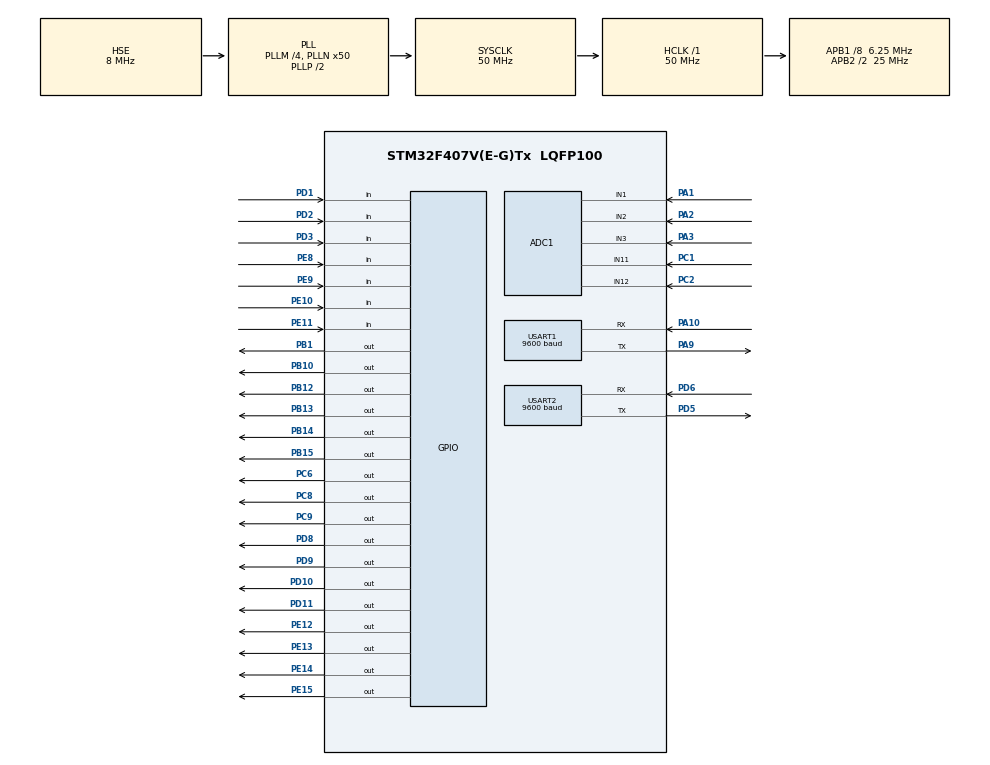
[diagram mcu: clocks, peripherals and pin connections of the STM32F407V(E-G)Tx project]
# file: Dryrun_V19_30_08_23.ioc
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ADC1.Channel-0\#ChannelRegularConversion=ADC_CHANNEL_1
ADC1.Channel-1\#ChannelRegularConversion=ADC_CHANNEL_2
ADC1.Channel-2\#ChannelRegularConversion=ADC_CHANNEL_3
ADC1.Channel-3\#ChannelRegularConversion=ADC_CHANNEL_11
ADC1.Channel-4\#ChannelRegularConversion=ADC_CHANNEL_12
ADC1.ContinuousConvMode=ENABLE
ADC1.DiscontinuousConvMode=DISABLE
ADC1.EOCSelection=ADC_EOC_SINGLE_CONV
ADC1.ExternalTrigConv=ADC_SOFTWARE_START
ADC1.NbrOfConversion=5
ADC1.NbrOfConversionFlag=1
ADC1.Rank-0\#ChannelRegularConversion=1
ADC1.Rank-1\#ChannelRegularConversion=2
ADC1.Rank-2\#ChannelRegularConversion=3
ADC1.Rank-3\#ChannelRegularConversion=4
ADC1.Rank-4\#ChannelRegularConversion=5
ADC1.SamplingTime-0\#ChannelRegularConversion=ADC_SAMPLETIME_3CYCLES
ADC1.SamplingTime-1\#ChannelRegularConversion=ADC_SAMPLETIME_15CYCLES
ADC1.SamplingTime-2\#ChannelRegularConversion=ADC_SAMPLETIME_28CYCLES
ADC1.SamplingTime-3\#ChannelRegularConversion=ADC_SAMPLETIME_56CYCLES
ADC1.SamplingTime-4\#ChannelRegularConversion=ADC_SAMPLETIME_84CYCLES
ADC1.ScanConvMode=ENABLE
ADC1.master=1
Mcu.Family=STM32F4
Mcu.Name=STM32F407V(E-G)Tx
Mcu.Package=LQFP100
NVIC.PriorityGroup=NVIC_PRIORITYGROUP_0
NVIC.TIM6_DAC_IRQn=true\:0\:0\:false\:false\:true\:true\:true\:true
NVIC.TIM7_IRQn=true\:0\:0\:false\:false\:true\:true\:true\:true
PA1.Signal=ADCx_IN1
PA10.Mode=Asynchronous
PA10.Signal=USART1_RX
PA2.Signal=ADCx_IN2
PA3.Signal=ADCx_IN3
PA9.Mode=Asynchronous
PA9.Signal=USART1_TX
PB1.Signal=GPIO_Output
PB10.Signal=GPIO_Output
PB12.Signal=GPIO_Output
PB13.Signal=GPIO_Output
PB14.Signal=GPIO_Output
PB15.Signal=GPIO_Output
PC1.Signal=ADCx_IN11
PC2.Signal=ADCx_IN12
PC6.Signal=GPIO_Output
PC8.Signal=GPIO_Output
PC9.Signal=GPIO_Output
PD1.Signal=GPIO_Input
PD10.Signal=GPIO_Output
PD11.Signal=GPIO_Output
PD2.Signal=GPIO_Input
PD3.Signal=GPIO_Input
PD5.Mode=Asynchronous
PD5.Signal=USART2_TX
PD6.Mode=Asynchronous
PD6.Signal=USART2_RX
PD8.Signal=GPIO_Output
PD9.Signal=GPIO_Output
PE10.Signal=GPIO_Input
PE11.Signal=GPIO_Input
PE12.Signal=GPIO_Output
PE13.Signal=GPIO_Output
PE14.Signal=GPIO_Output
PE15.Signal=GPIO_Output
PE8.Signal=GPIO_Input
PE9.Signal=GPIO_Input
PH0-OSC_IN.Mode=HSE-External-Oscillator
PH0-OSC_IN.Signal=RCC_OSC_IN
PH1-OSC_OUT.Mode=HSE-External-Oscillator
PH1-OSC_OUT.Signal=RCC_OSC_OUT
ProjectManager.HeapSize=0x200
ProjectManager.StackSize=0x400
ProjectManager.TargetToolchain=STM32CubeIDE
RCC.48MHZClocksFreq_Value=14285714.285714285
RCC.AHBFreq_Value=50000000
RCC.APB1CLKDivider=RCC_HCLK_DIV8
RCC.APB1Freq_Value=6250000
RCC.APB1TimFreq_Value=12500000
RCC.APB2CLKDivider=RCC_HCLK_DIV2
RCC.APB2Freq_Value=25000000
RCC.APB2TimFreq_Value=50000000
RCC.CortexFreq_Value=50000000
RCC.HCLKFreq_Value=50000000
RCC.HSE_VALUE=8000000
RCC.HSI_VALUE=16000000
RCC.LSE_VALUE=32768
RCC.PLLM=4
RCC.PLLN=50
RCC.PLLQ=7
RCC.PLLSourceVirtual=RCC_PLLSOURCE_HSE
RCC.SYSCLKFreq_VALUE=50000000
RCC.SYSCLKSource=RCC_SYSCLKSOURCE_PLLCLK
RCC.VCOOutputFreq_Value=100000000
SH.ADCx_IN1.0=ADC1_IN1,IN1
SH.ADCx_IN11.0=ADC1_IN11,IN11
SH.ADCx_IN12.0=ADC1_IN12,IN12
SH.ADCx_IN2.0=ADC1_IN2,IN2
SH.ADCx_IN3.0=ADC1_IN3,IN3
TIM6.Period=60000
TIM6.Prescaler=12499
TIM7.Period=10
TIM7.Prescaler=12499
USART1.BaudRate=9600
USART1.VirtualMode=VM_ASYNC
USART2.BaudRate=9600
USART2.VirtualMode=VM_ASYNC
VP_TIM6_VS_ClockSourceINT.Mode=Enable_Timer
VP_TIM7_VS_ClockSourceINT.Mode=Enable_Timer
board=STM32F407G-DISC1

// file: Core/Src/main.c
/* USER CODE BEGIN Header */
/**
  ******************************************************************************
  * @file           : main.c
  * @brief          : Main program body
  ******************************************************************************
  * @attention
  *
  * Copyright (c) 2023 STMicroelectronics.
  * All rights reserved.
  *
  * This software is licensed under terms that can be found in the LICENSE file
  * in the root directory of this software component.
  * If no LICENSE file comes with this software, it is provided AS-IS.
  *
  ******************************************************************************
  */
/* USER CODE END Header */
#include "main.h"

/* USER CODE BEGIN Includes */

#include<stdio.h>
#include<string.h>
#include "FLASH_SECTOR_F4.h"

/* USER CODE END Includes */

/* USER CODE BEGIN PTD */

typedef unsigned char uc;
typedef uint8_t ui8;
typedef uint16_t ui16;
typedef unsigned int ui;
typedef uint32_t ui32;

/* USER CODE END PTD */

/* USER CODE BEGIN PD */

#define SW_DryrunBypass		GPIO_PIN_9	//PE9
#define SW_DryrunSet		GPIO_PIN_10	//PE10
#define SW_AutoManual		GPIO_PIN_8	//PE8

#define MOTOR_LED		GPIO_PIN_14	//PE14
#define SPP_LED			GPIO_PIN_15	//PE15
#define DRN_LED			GPIO_PIN_1	//PB1

#define SPP_Sense		GPIO_PIN_11	//PE11

#define Relay_Start		GPIO_PIN_12	// PE12
#define Relay_Stop		GPIO_PIN_13	// PE13

#define SEG_A			GPIO_PIN_12	// PB12
#define SEG_B			GPIO_PIN_13	// PB13
#define SEG_C			GPIO_PIN_14	// PB14
#define SEG_D			GPIO_PIN_15	// PB15
#define SEG_E			GPIO_PIN_8	// PD8
#define SEG_F			GPIO_PIN_9	// PD9
#define SEG_G			GPIO_PIN_10	// PD10
#define SEG_DP			GPIO_PIN_11	// PD11

#define DISP_1			GPIO_PIN_9	// PC9 = DIGIT-1
#define DISP_2			GPIO_PIN_8	// PC8 = DIGIT-2
#define DISP_3			GPIO_PIN_6	// PC6 = DIGIT-3

/* USER CODE END PD */

ADC_HandleTypeDef hadc1;

TIM_HandleTypeDef htim6;
TIM_HandleTypeDef htim7;

UART_HandleTypeDef huart1;
UART_HandleTypeDef huart2;

/* USER CODE BEGIN PV */

//Flags

ui8 RYB_Flag = 0;
ui8 PhaseFault_Flag = 0;
ui8 R_Flag = 0;
ui8 Y_Flag = 0;
ui8 B_Flag = 0;
ui8 Motor_Status = 0;
ui8 Dryrun_Flag = 0;

ui16 R_Voltage = 0;
ui16 Y_Voltage = 0;
ui16 B_Voltage = 0;

ui16 count;
volatile ui16 count1;
ui16 adc_val=0;

//EEPROM Memory Addresses

ui32 write_add = 0;
uc write_buffer[2] = {0xFF,0xFF};

ui32 read_add = 0;
uc Read_Buffer[2] = {0};

ui16 E_value = 0;

//UART
ui8 tx_buf1[30] = {0};

//Phase, Current & POT ADC Varaibles

ui chan_value_R = 0;
ui chan_value_Y = 0;
ui chan_value_B = 0;
ui chan_value_I = 0;
ui Start_Delay = 0;

ui16 CT_Val = 0;
ui16 CT_High_Limit=0;
ui16 CT_Low_Limit=0;
ui16 I_Current = 0;

int i, k, m, s=0, t=0;
ui8 Current_Flag = 0, Voltage_Flag = 0;

// GSM
char buf_on[100] = {0};
char buf_off[100] = {0};
char buf_tim[100] = {0};
char cmd[64] = {0};
char msg[128] = {0};
ui16 tim_count = 0;
ui16 tim_sec = 0;

/* USER CODE END PV */

void SystemClock_Config(void);
static void MX_GPIO_Init(void);
static void MX_ADC1_Init(void);
static void MX_TIM7_Init(void);
static void MX_USART1_UART_Init(void);
static void MX_USART2_UART_Init(void);
static void MX_TIM6_Init(void);
/* USER CODE BEGIN PFP */

void Syst_Init(void);
void HW_Test();
void init_disp();

void zero_0();
void one_1();
void two_2();
void three_3();
void four_4();
void five_5();
void six_6();
void seven_7();
void eight_8();
void nine_9();

void disp(unsigned int);

void CheckPhaseVoltage();
void CheckDryrun();
void MotorON();
void MotorOFF();
void DryRunSet();

void led_blink(uint16_t pin, uint16_t delay);
void led_off(uint16_t pin);

void ADC_Select_VADC_R(void);
void ADC_Select_VADC_Y(void);
void ADC_Select_VADC_B(void);
void ADC_Select_IADC_R(void);
void ADC_Select_STS(void);

void HAL_TIM_PeriodElapsedCallback(TIM_HandleTypeDef *htim);

void msDelay(uint16_t timecount);

/* USER CODE END PFP */

int main(void)
{

  /* MCU Configuration--------------------------------------------------------*/

  /* Reset of all peripherals, Initializes the Flash interface and the Systick. */
  HAL_Init();

  /* Configure the system clock */
  SystemClock_Config();

  /* Initialize all configured peripherals */
  MX_GPIO_Init();
  MX_ADC1_Init();
  MX_TIM7_Init();
  MX_USART1_UART_Init();
  MX_USART2_UART_Init();
  MX_TIM6_Init();
  /* USER CODE BEGIN 2 */

  Syst_Init();
  HAL_UART_Transmit(&huart2, (uint8_t *)"AT+CMGDA=\"DEL ALL\"\r\n", 20, 1000);

  write_add = 0x08005000;	//EEPROM Write Address

  read_add = 0x08005000;	//EEPROM Read Address

  __disable_irq();
  Flash_Read_Data(read_add, Read_Buffer, 4);	//Read the value from EEPROM
  __enable_irq();

  E_value = Read_Buffer[1];			//Write MSB of EEPROM value
  E_value = (E_value<<8)| Read_Buffer[0];		//Write LSB of EEPROM value
  HAL_Delay(20);

  CT_High_Limit = E_value + ((E_value/100)*30);	//Set High Limit of Current
  CT_Low_Limit = E_value - ((E_value/100)*30);	//Set Low Limit of Current

  /* USER CODE END 2 */

  /* Infinite loop */
  /* USER CODE BEGIN WHILE */
  while (1)
  {
	  HAL_UART_Transmit(&huart2, (uint8_t *)"AT+CMGR=1\r\n", 11, 100);
	  HAL_UART_Receive(&huart2, (uint8_t *)buf_on, sizeof(buf_on), 100);
	  if(strstr(buf_on, "*ON#"))
	  {
		  HAL_UART_Transmit(&huart2, (uint8_t *)"AT+CMGR=2\r\n", 11, 1000);
		  HAL_UART_Receive(&huart2, (uint8_t *)buf_tim, sizeof(buf_tim), 1000);
		  if(strstr(buf_tim, "*T1#") || strstr(buf_tim, "*T2#") || strstr(buf_tim, "*T3#"))
		  {
			  if(strstr(buf_tim, "*T1#"))
			  {
				  tim_count = 60;
			  }
			  else if(strstr(buf_tim, "*T2#"))
			  {
				  tim_count = 120;
			  }
			  else if(strstr(buf_tim, "*T3#"))
			  {
				  tim_count = 180;
			  }
			  HAL_TIM_Base_Start_IT(&htim6);
			  if(tim_sec <= tim_count)
			  {
				  CheckPhaseVoltage();

				  if(HAL_GPIO_ReadPin(GPIOE, SW_AutoManual) == 1)      // if Manual Mode is ON
				  {
					  printf(tx_buf1,"Auto Mode Manual\r ");
					  HAL_UART_Transmit(&huart1, tx_buf1, 17, 100);

					  if(Motor_Status==1)	// if Motor is ON, turn Motor OFF
					  {
						  MotorOFF();
					  }
				  }
				  if(HAL_GPIO_ReadPin(GPIOE, SPP_Sense) == 0)	// if Phase Fault occurs  (Need to check with hardware)
				  {
					  for(count = 0; count<10; count++)   // Checking 10 times
					  {
						  if(HAL_GPIO_ReadPin(GPIOE, SPP_Sense) == 0)
						  {
							  PhaseFault_Flag = 1;
						  }
						  else
						  {
							  PhaseFault_Flag = 0;
							  break;
						  }
					  }
					  if(PhaseFault_Flag == 1)	//Turn Motor OFF if PhaseFault occurs
					  {
						  if(Motor_Status==1)	// if Motor is ON, turn Motor OFF
						  {
							  MotorOFF();
							  HAL_GPIO_WritePin(GPIOE, SPP_LED, GPIO_PIN_RESET);
							  sprintf(tx_buf1,"Phase Fault\r");
							  HAL_UART_Transmit(&huart1, tx_buf1, 11, 100);
						  }
					  }
					  else
					  {
						  HAL_GPIO_WritePin(GPIOE, SPP_LED, GPIO_PIN_SET);
					  }

				  }

				  if(R_Flag==1 || Y_Flag==1 || B_Flag==1)
				  {
					  for(count = 0; count<10; count++)   // Checking 10 times
					  {
						  if(R_Flag==1 || Y_Flag==1 || B_Flag==1)
						  {
							  RYB_Flag = 1;
						  }

					  }
					  if(RYB_Flag == 1)	//Turn Motor OFF if PhaseFault occurs
					  {
						  if(Motor_Status==1)	// if Motor is ON, turn Motor OFF
						  {
							  MotorOFF();
							  sprintf(tx_buf1,"K Fault\r");
							  HAL_UART_Transmit(&huart1, tx_buf1, 9, 100);
						  }
					  }
				  }
				  else
				  {
					  RYB_Flag = 0;

				  }

				  if(Motor_Status == 0 && HAL_GPIO_ReadPin(GPIOE, SW_AutoManual) == 0 && PhaseFault_Flag == 0 && RYB_Flag == 0 && Dryrun_Flag == 0)	// Checking for Motor ON & all fault status, if Motor OFF & all fault Clear then Motor ON
				  {
					  MotorON();
					  HAL_UART_Transmit(&huart2, (uint8_t *)"AT+CMGR=3\r\n", 11, 1000);
					  HAL_UART_Receive(&huart2, (uint8_t *)buf_off, sizeof(buf_off), 1000);
					  if(strstr(buf_off, "*OFF#"))
					  {
						  MotorOFF();
						  HAL_UART_Transmit(&huart2, (uint8_t *)"AT+CMGDA=\"DEL ALL\"\r\n", 20, 1000);
					  }
				  }
				  if(Motor_Status == 1 && HAL_GPIO_ReadPin(GPIOE, SW_AutoManual) == 0 && PhaseFault_Flag == 0 && RYB_Flag == 0 )	// Checking for Motor ON & all fault status, if Motor ON & all fault Clear then Check for Bypass
				  {
					  if(HAL_GPIO_ReadPin(GPIOE, SW_DryrunBypass) == 0)   		// If Bypass is OFF, check for Dryrun
					  {
						  if(E_value<0xFFFF)		// Check for EEPROM value, if Current reference value exist then check for Dryrun
						  {
							  HAL_UART_Transmit(&huart2, (uint8_t *)"AT+CMGR=3\r\n", 11, 1000);
							  HAL_UART_Receive(&huart2, (uint8_t *)buf_off, sizeof(buf_off), 1000);
							  if(strstr(buf_off, "*OFF#"))
							  {
								  MotorOFF();
								  HAL_UART_Transmit(&huart2, (uint8_t *)"AT+CMGDA=\"DEL ALL\"\r\n", 20, 1000);
							  }
							  CheckDryrun();
							  if(Dryrun_Flag == 1)	// If Dryrun occurs
							  {
								  HAL_GPIO_WritePin(GPIOB, DRN_LED, GPIO_PIN_RESET);
								  MotorOFF();
								  sprintf(tx_buf1,"Dryrun Detected\r");
								  HAL_UART_Transmit(&huart1, tx_buf1, 16, 100);
							  }
							  else
							  {
								  HAL_GPIO_WritePin(GPIOB, DRN_LED, GPIO_PIN_SET);
								  HAL_UART_Transmit(&huart2, (uint8_t *)"AT+CMGR=3\r\n", 11, 1000);
								  HAL_UART_Receive(&huart2, (uint8_t *)buf_off, sizeof(buf_off), 1000);
								  if(strstr(buf_off, "*OFF#"))
								  {
									  MotorOFF();
									  HAL_UART_Transmit(&huart2, (uint8_t *)"AT+CMGDA=\"DEL ALL\"\r\n", 20, 1000);
								  }
							  }
						  }
						  if(HAL_GPIO_ReadPin(GPIOE, SW_DryrunSet) == 0)		// If Dryrun Switch is pressed
						  {
							  sprintf(tx_buf1,"Dryrun Set Pressed\r ");
							  HAL_UART_Transmit(&huart1, tx_buf1, 18, 100);
							  DryRunSet();
							  HAL_UART_Transmit(&huart2, (uint8_t *)"AT+CMGR=3\r\n", 11, 1000);
							  HAL_UART_Receive(&huart2, (uint8_t *)buf_off, sizeof(buf_off), 1000);
							  if(strstr(buf_off, "*OFF#"))
							  {
								  MotorOFF();
								  HAL_UART_Transmit(&huart2, (uint8_t *)"AT+CMGDA=\"DEL ALL\"\r\n", 20, 1000);
							  }
						  }
					  }
					  else
					  {
						  sprintf(tx_buf1,"Dryrun Bypass\r");
						  HAL_UART_Transmit(&huart1, tx_buf1, 14, 100);
						  if(HAL_GPIO_ReadPin(GPIOE, SW_DryrunSet) == 0)		// If Dryrun Switch is pressed
						  {
							  sprintf(tx_buf1,"Dryrun Set Pressed\r");
							  HAL_UART_Transmit(&huart1, tx_buf1, 18, 100);
							  DryRunSet();
							  HAL_UART_Transmit(&huart2, (uint8_t *)"AT+CMGR=3\r\n", 11, 1000);
							  HAL_UART_Receive(&huart2, (uint8_t *)buf_off, sizeof(buf_off), 1000);
							  if(strstr(buf_off, "*OFF#"))
							  {
								  MotorOFF();
								  HAL_UART_Transmit(&huart2, (uint8_t *)"AT+CMGDA=\"DEL ALL\"\r\n", 20, 1000);
							  }
						  }
					  }
				  }
			  }
			  else
			  {
				  MotorOFF();
			  }
		  }
		  else
		  {
			  MotorOFF();
		  }

	  }
	  else
	  {
		  MotorOFF();
	  }
    /* USER CODE END WHILE */

  }
}

void SystemClock_Config(void)
{
  RCC_OscInitTypeDef RCC_OscInitStruct = {0};
  RCC_ClkInitTypeDef RCC_ClkInitStruct = {0};

  /** Configure the main internal regulator output voltage
  */
  __HAL_RCC_PWR_CLK_ENABLE();
  __HAL_PWR_VOLTAGESCALING_CONFIG(PWR_REGULATOR_VOLTAGE_SCALE1);

  /** Initializes the RCC Oscillators according to the specified parameters
  * in the RCC_OscInitTypeDef structure.
  */
  RCC_OscInitStruct.OscillatorType = RCC_OSCILLATORTYPE_HSE;
  RCC_OscInitStruct.HSEState = RCC_HSE_ON;
  RCC_OscInitStruct.PLL.PLLState = RCC_PLL_ON;
  RCC_OscInitStruct.PLL.PLLSource = RCC_PLLSOURCE_HSE;
  RCC_OscInitStruct.PLL.PLLM = 4;
  RCC_OscInitStruct.PLL.PLLN = 50;
  RCC_OscInitStruct.PLL.PLLP = RCC_PLLP_DIV2;
  RCC_OscInitStruct.PLL.PLLQ = 7;
  if (HAL_RCC_OscConfig(&RCC_OscInitStruct) != HAL_OK)
  {
    Error_Handler();
  }

  /** Initializes the CPU, AHB and APB buses clocks
  */
  RCC_ClkInitStruct.ClockType = RCC_CLOCKTYPE_HCLK|RCC_CLOCKTYPE_SYSCLK
                              |RCC_CLOCKTYPE_PCLK1|RCC_CLOCKTYPE_PCLK2;
  RCC_ClkInitStruct.SYSCLKSource = RCC_SYSCLKSOURCE_PLLCLK;
  RCC_ClkInitStruct.AHBCLKDivider = RCC_SYSCLK_DIV1;
  RCC_ClkInitStruct.APB1CLKDivider = RCC_HCLK_DIV8;
  RCC_ClkInitStruct.APB2CLKDivider = RCC_HCLK_DIV2;

  if (HAL_RCC_ClockConfig(&RCC_ClkInitStruct, FLASH_LATENCY_1) != HAL_OK)
  {
    Error_Handler();
  }
}

static void MX_ADC1_Init(void)
{

  ADC_ChannelConfTypeDef sConfig = {0};

  /** Configure the global features of the ADC (Clock, Resolution, Data Alignment and number of conversion)
  */
  hadc1.Instance = ADC1;
  hadc1.Init.ClockPrescaler = ADC_CLOCK_SYNC_PCLK_DIV2;
  hadc1.Init.Resolution = ADC_RESOLUTION_12B;
  hadc1.Init.ScanConvMode = ENABLE;
  hadc1.Init.ContinuousConvMode = ENABLE;
  hadc1.Init.DiscontinuousConvMode = DISABLE;
  hadc1.Init.ExternalTrigConvEdge = ADC_EXTERNALTRIGCONVEDGE_NONE;
  hadc1.Init.ExternalTrigConv = ADC_SOFTWARE_START;
  hadc1.Init.DataAlign = ADC_DATAALIGN_RIGHT;
  hadc1.Init.NbrOfConversion = 1;
  hadc1.Init.DMAContinuousRequests = DISABLE;
  hadc1.Init.EOCSelection = ADC_EOC_SINGLE_CONV;
  if (HAL_ADC_Init(&hadc1) != HAL_OK)
  {
    Error_Handler();
  }

  /** Configure for the selected ADC regular channel its corresponding rank in the sequencer and its sample time.
  */
//  sConfig.Channel = ADC_CHANNEL_1;
//  sConfig.Rank = 1;
//  sConfig.SamplingTime = ADC_SAMPLETIME_3CYCLES;
//  if (HAL_ADC_ConfigChannel(&hadc1, &sConfig) != HAL_OK)
//  {
//    Error_Handler();
//  }
//
//  /** Configure for the selected ADC regular channel its corresponding rank in the sequencer and its sample time.
//  */
//  sConfig.Channel = ADC_CHANNEL_2;
//  sConfig.Rank = 2;
//  sConfig.SamplingTime = ADC_SAMPLETIME_15CYCLES;
//  if (HAL_ADC_ConfigChannel(&hadc1, &sConfig) != HAL_OK)
//  {
//    Error_Handler();
//  }
//
//  /** Configure for the selected ADC regular channel its corresponding rank in the sequencer and its sample time.
//  */
//  sConfig.Channel = ADC_CHANNEL_3;
//  sConfig.Rank = 3;
//  sConfig.SamplingTime = ADC_SAMPLETIME_28CYCLES;
//  if (HAL_ADC_ConfigChannel(&hadc1, &sConfig) != HAL_OK)
//  {
//    Error_Handler();
//  }
//
//  /** Configure for the selected ADC regular channel its corresponding rank in the sequencer and its sample time.
//  */
//  sConfig.Channel = ADC_CHANNEL_11;
//  sConfig.Rank = 4;
//  sConfig.SamplingTime = ADC_SAMPLETIME_56CYCLES;
//  if (HAL_ADC_ConfigChannel(&hadc1, &sConfig) != HAL_OK)
//  {
//    Error_Handler();
//  }
//
//  /** Configure for the selected ADC regular channel its corresponding rank in the sequencer and its sample time.
//  */
//  sConfig.Channel = ADC_CHANNEL_12;
//  sConfig.Rank = 5;
//  sConfig.SamplingTime = ADC_SAMPLETIME_84CYCLES;
//  if (HAL_ADC_ConfigChannel(&hadc1, &sConfig) != HAL_OK)
//  {
//    Error_Handler();
//  }

}

static void MX_TIM6_Init(void)
{

  TIM_MasterConfigTypeDef sMasterConfig = {0};

  htim6.Instance = TIM6;
  htim6.Init.Prescaler = 12499;
  htim6.Init.CounterMode = TIM_COUNTERMODE_UP;
  htim6.Init.Period = 60000;
  htim6.Init.AutoReloadPreload = TIM_AUTORELOAD_PRELOAD_DISABLE;
  if (HAL_TIM_Base_Init(&htim6) != HAL_OK)
  {
    Error_Handler();
  }
  sMasterConfig.MasterOutputTrigger = TIM_TRGO_RESET;
  sMasterConfig.MasterSlaveMode = TIM_MASTERSLAVEMODE_DISABLE;
  if (HAL_TIMEx_MasterConfigSynchronization(&htim6, &sMasterConfig) != HAL_OK)
  {
    Error_Handler();
  }

}

static void MX_TIM7_Init(void)
{

  TIM_MasterConfigTypeDef sMasterConfig = {0};

  htim7.Instance = TIM7;
  htim7.Init.Prescaler = 12499;
  htim7.Init.CounterMode = TIM_COUNTERMODE_UP;
  htim7.Init.Period = 10;
  htim7.Init.AutoReloadPreload = TIM_AUTORELOAD_PRELOAD_DISABLE;
  if (HAL_TIM_Base_Init(&htim7) != HAL_OK)
  {
    Error_Handler();
  }
  sMasterConfig.MasterOutputTrigger = TIM_TRGO_RESET;
  sMasterConfig.MasterSlaveMode = TIM_MASTERSLAVEMODE_DISABLE;
  if (HAL_TIMEx_MasterConfigSynchronization(&htim7, &sMasterConfig) != HAL_OK)
  {
    Error_Handler();
  }

}

static void MX_USART1_UART_Init(void)
{

  huart1.Instance = USART1;
  huart1.Init.BaudRate = 9600;
  huart1.Init.WordLength = UART_WORDLENGTH_8B;
  huart1.Init.StopBits = UART_STOPBITS_1;
  huart1.Init.Parity = UART_PARITY_NONE;
  huart1.Init.Mode = UART_MODE_TX_RX;
  huart1.Init.HwFlowCtl = UART_HWCONTROL_NONE;
  huart1.Init.OverSampling = UART_OVERSAMPLING_16;
  if (HAL_UART_Init(&huart1) != HAL_OK)
  {
    Error_Handler();
  }

}

static void MX_USART2_UART_Init(void)
{

  huart2.Instance = USART2;
  huart2.Init.BaudRate = 9600;
  huart2.Init.WordLength = UART_WORDLENGTH_8B;
  huart2.Init.StopBits = UART_STOPBITS_1;
  huart2.Init.Parity = UART_PARITY_NONE;
  huart2.Init.Mode = UART_MODE_TX_RX;
  huart2.Init.HwFlowCtl = UART_HWCONTROL_NONE;
  huart2.Init.OverSampling = UART_OVERSAMPLING_16;
  if (HAL_UART_Init(&huart2) != HAL_OK)
  {
    Error_Handler();
  }

}

static void MX_GPIO_Init(void)
{
  GPIO_InitTypeDef GPIO_InitStruct = {0};

  /* GPIO Ports Clock Enable */
  __HAL_RCC_GPIOH_CLK_ENABLE();
  __HAL_RCC_GPIOC_CLK_ENABLE();
  __HAL_RCC_GPIOA_CLK_ENABLE();
  __HAL_RCC_GPIOB_CLK_ENABLE();
  __HAL_RCC_GPIOE_CLK_ENABLE();
  __HAL_RCC_GPIOD_CLK_ENABLE();

  /*Configure GPIO pin Output Level */
  HAL_GPIO_WritePin(GPIOB, GPIO_PIN_1|GPIO_PIN_10|GPIO_PIN_12|GPIO_PIN_13
                          |GPIO_PIN_14|GPIO_PIN_15, GPIO_PIN_RESET);

  /*Configure GPIO pin Output Level */
  HAL_GPIO_WritePin(GPIOE, GPIO_PIN_12|GPIO_PIN_13|GPIO_PIN_14|GPIO_PIN_15, GPIO_PIN_RESET);

  /*Configure GPIO pin Output Level */
  HAL_GPIO_WritePin(GPIOD, GPIO_PIN_8|GPIO_PIN_9|GPIO_PIN_10|GPIO_PIN_11, GPIO_PIN_RESET);

  /*Configure GPIO pin Output Level */
  HAL_GPIO_WritePin(GPIOC, GPIO_PIN_6|GPIO_PIN_8|GPIO_PIN_9, GPIO_PIN_RESET);

  /*Configure GPIO pins : PB1 PB10 PB12 PB13
                           PB14 PB15 */
  GPIO_InitStruct.Pin = GPIO_PIN_1|GPIO_PIN_10|GPIO_PIN_12|GPIO_PIN_13
                          |GPIO_PIN_14|GPIO_PIN_15;
  GPIO_InitStruct.Mode = GPIO_MODE_OUTPUT_PP;
  GPIO_InitStruct.Pull = GPIO_NOPULL;
  GPIO_InitStruct.Speed = GPIO_SPEED_FREQ_LOW;
  HAL_GPIO_Init(GPIOB, &GPIO_InitStruct);

  /*Configure GPIO pins : PE8 PE9 PE10 PE11 */
  GPIO_InitStruct.Pin = GPIO_PIN_8|GPIO_PIN_9|GPIO_PIN_10|GPIO_PIN_11;
  GPIO_InitStruct.Mode = GPIO_MODE_INPUT;
  GPIO_InitStruct.Pull = GPIO_NOPULL;
  HAL_GPIO_Init(GPIOE, &GPIO_InitStruct);

  /*Configure GPIO pins : PE12 PE13 PE14 PE15 */
  GPIO_InitStruct.Pin = GPIO_PIN_12|GPIO_PIN_13|GPIO_PIN_14|GPIO_PIN_15;
  GPIO_InitStruct.Mode = GPIO_MODE_OUTPUT_PP;
  GPIO_InitStruct.Pull = GPIO_NOPULL;
  GPIO_InitStruct.Speed = GPIO_SPEED_FREQ_LOW;
  HAL_GPIO_Init(GPIOE, &GPIO_InitStruct);

  /*Configure GPIO pins : PD8 PD9 PD10 PD11 */
  GPIO_InitStruct.Pin = GPIO_PIN_8|GPIO_PIN_9|GPIO_PIN_10|GPIO_PIN_11;
  GPIO_InitStruct.Mode = GPIO_MODE_OUTPUT_PP;
  GPIO_InitStruct.Pull = GPIO_NOPULL;
  GPIO_InitStruct.Speed = GPIO_SPEED_FREQ_LOW;
  HAL_GPIO_Init(GPIOD, &GPIO_InitStruct);

  /*Configure GPIO pins : PC6 PC8 PC9 */
  GPIO_InitStruct.Pin = GPIO_PIN_6|GPIO_PIN_8|GPIO_PIN_9;
  GPIO_InitStruct.Mode = GPIO_MODE_OUTPUT_PP;
  GPIO_InitStruct.Pull = GPIO_NOPULL;
  GPIO_InitStruct.Speed = GPIO_SPEED_FREQ_LOW;
  HAL_GPIO_Init(GPIOC, &GPIO_InitStruct);

  /*Configure GPIO pins : PD1 PD2 PD3 */
  GPIO_InitStruct.Pin = GPIO_PIN_1|GPIO_PIN_2|GPIO_PIN_3;
  GPIO_InitStruct.Mode = GPIO_MODE_INPUT;
  GPIO_InitStruct.Pull = GPIO_NOPULL;
  HAL_GPIO_Init(GPIOD, &GPIO_InitStruct);

}

/* USER CODE BEGIN 4 */
void Syst_Init(void)
{
	//__enable_irq();

	HAL_GPIO_WritePin(GPIOB, DRN_LED, GPIO_PIN_SET);
	HAL_GPIO_WritePin(GPIOE, MOTOR_LED, GPIO_PIN_SET);
	HAL_GPIO_WritePin(GPIOE, SPP_LED, GPIO_PIN_SET);

    HAL_GPIO_WritePin(GPIOC, DISP_1, GPIO_PIN_RESET);
    HAL_GPIO_WritePin(GPIOC, DISP_2, GPIO_PIN_RESET);
    HAL_GPIO_WritePin(GPIOC, DISP_3, GPIO_PIN_RESET);

	init_disp();
    HW_Test();

    HAL_GPIO_WritePin(GPIOE, Relay_Start, GPIO_PIN_RESET);
    MotorOFF();

    HAL_TIM_Base_Start_IT(&htim7);
}

void HW_Test()
{
	HAL_GPIO_WritePin(GPIOB, DRN_LED, GPIO_PIN_RESET);
	HAL_Delay(1000);

	HAL_GPIO_WritePin(GPIOE, MOTOR_LED, GPIO_PIN_RESET);
	HAL_Delay(1000);

	HAL_GPIO_WritePin(GPIOE, SPP_LED, GPIO_PIN_RESET);
	HAL_Delay(1000);

	HAL_GPIO_WritePin(GPIOE, SPP_LED, GPIO_PIN_SET);
	HAL_Delay(1000);

	HAL_GPIO_WritePin(GPIOE, MOTOR_LED, GPIO_PIN_SET);
	HAL_Delay(1000);

	HAL_GPIO_WritePin(GPIOB, DRN_LED, GPIO_PIN_SET);
}

void init_disp()
{
	HAL_GPIO_WritePin(GPIOC, DISP_3, GPIO_PIN_SET); // DIG3
    HAL_GPIO_WritePin(GPIOC, DISP_2, GPIO_PIN_SET); // DIG2
    HAL_GPIO_WritePin(GPIOC, DISP_1, GPIO_PIN_SET); // DIG1

    disp(0);
    HAL_Delay(300);
    disp(1);
    HAL_Delay(300);
    disp(2);
    HAL_Delay(300);
    disp(3);
    HAL_Delay(300);
    disp(4);
    HAL_Delay(300);
    disp(5);
    HAL_Delay(300);
    disp(6);
    HAL_Delay(300);
    disp(7);
    HAL_Delay(300);
    disp(8);
    HAL_Delay(300);
    disp(9);
    HAL_Delay(300);

    HAL_GPIO_WritePin(GPIOC, DISP_3, GPIO_PIN_RESET); // DIG3
    HAL_GPIO_WritePin(GPIOC, DISP_2, GPIO_PIN_RESET); // DIG2
    HAL_GPIO_WritePin(GPIOC, DISP_1, GPIO_PIN_RESET); // DIG1

    HAL_Delay(2000);
}

void CheckPhaseVoltage()
{
	ADC_Select_VADC_R();   //select channel 12

	HAL_ADC_Start(&hadc1);	//Start ADC
	HAL_ADC_PollForConversion(&hadc1, 100);
	chan_value_R = HAL_ADC_GetValue(&hadc1);
	HAL_ADC_Stop(&hadc1);  	//Stop ADC
	HAL_Delay(50);

	ADC_Select_VADC_Y();   //select channel 11

	HAL_ADC_Start(&hadc1);	//Start ADC
	HAL_ADC_PollForConversion(&hadc1, 100);
	chan_value_Y = HAL_ADC_GetValue(&hadc1);
	HAL_ADC_Stop(&hadc1);  	//Stop ADC
	HAL_Delay(50);

	ADC_Select_VADC_B();   //select channel 3

	HAL_ADC_Start(&hadc1);	//Start ADC
	HAL_ADC_PollForConversion(&hadc1, 100);
	chan_value_B = HAL_ADC_GetValue(&hadc1);
	HAL_ADC_Stop(&hadc1);  	//Stop ADC
	HAL_Delay(50);

	R_Voltage = (chan_value_R * 40)/100;

	Y_Voltage = (chan_value_Y * 40)/100;

	B_Voltage = (chan_value_B * 40)/100;

	HAL_UART_Transmit(&huart1, chan_value_Y, 2, 100);

	if(R_Voltage < 180)	//if R phase Voltage is less than 180 then Set R_Flag
	{
		R_Flag = 1;
		sprintf(tx_buf1,"R Fault\r ");
		HAL_UART_Transmit(&huart1, tx_buf1, 7, 100);
	}
	else
	{
		R_Flag = 0;
	}
	if(Y_Voltage < 180)	//if Y phase Voltage is less than 180 then Set Y_Flag
	{
		Y_Flag = 1;
		sprintf(tx_buf1,"Y Fault\r ");
		HAL_UART_Transmit(&huart1, tx_buf1, 7, 100);
	}
	else
	{
		Y_Flag = 0;
	}
	if(B_Voltage < 180)	//if B phase Voltage is less than 180 then Set B_Flag
	{
		B_Flag = 1;
		sprintf(tx_buf1,"B Fault\r ");
		HAL_UART_Transmit(&huart1, tx_buf1, 7, 100);
	}
	else
	{
		B_Flag = 0;
	}
}

void CheckDryrun()
{
	for(count = 0; count<10; count++)	// Checking 10 times
	{
		ADC_Select_IADC_R();   //select channel 2

		HAL_ADC_Start(&hadc1);	//Start ADC
		HAL_ADC_PollForConversion(&hadc1, 100);
		chan_value_I = HAL_ADC_GetValue(&hadc1);
		HAL_ADC_Stop(&hadc1);  	//Stop ADC
		HAL_Delay(50);

		CT_Val = chan_value_I;		//Assign Current Value

		I_Current = chan_value_I / 100;

		if(CT_Val < CT_Low_Limit || CT_Val > CT_High_Limit)	//if CT value is less than Low Limit & greater than High Limit then Set Dryrun Flag
		{
			HAL_GPIO_WritePin(GPIOB, DRN_LED, GPIO_PIN_RESET);
			Dryrun_Flag = 1;
			HAL_Delay(100);

		}
		else if(CT_Val > CT_Low_Limit && CT_Val < CT_High_Limit)	//if CT value is in between Low Limit & High Limit then Clear Dryrun Flag
		{
			HAL_GPIO_WritePin(GPIOB, DRN_LED, GPIO_PIN_SET);
			Dryrun_Flag = 0;
		}
	}
}

void MotorON()
{
	ADC_Select_STS();   //select channel 1

	HAL_ADC_Start(&hadc1);	//Start ADC
	HAL_ADC_PollForConversion(&hadc1, 100);
	Start_Delay = HAL_ADC_GetValue(&hadc1);
	HAL_ADC_Stop(&hadc1);  	//Stop ADC
	HAL_Delay(50);

	Start_Delay = Start_Delay * 10;

	//msDelay(Start_Delay);   //Need to update
	HAL_Delay(3000);

	HAL_GPIO_WritePin(GPIOE, Relay_Start, GPIO_PIN_SET);
	HAL_GPIO_WritePin(GPIOE, Relay_Stop, GPIO_PIN_SET);

	sprintf(tx_buf1,"MOTOR ON\r");
	HAL_UART_Transmit(&huart1, tx_buf1, 9, 100);

	HAL_Delay(3000);
	HAL_GPIO_WritePin(GPIOE, Relay_Start, GPIO_PIN_RESET);
	Motor_Status = 1;

	HAL_GPIO_WritePin(GPIOE, MOTOR_LED, GPIO_PIN_RESET);
}

void MotorOFF()
{
	HAL_TIM_Base_Stop_IT(&htim6);
	tim_count = 0;
	tim_sec = 0;

	HAL_Delay(500);
	HAL_GPIO_WritePin(GPIOE, Relay_Stop, GPIO_PIN_RESET);
	Motor_Status = 0;

	HAL_GPIO_WritePin(GPIOE, MOTOR_LED, GPIO_PIN_SET);

	sprintf(tx_buf1,"MOTOR OFF\r");
	HAL_UART_Transmit(&huart1, tx_buf1, 10, 100);
}

void DryRunSet()
{
	if(HAL_GPIO_ReadPin(GPIOE, SW_DryrunSet) == 0)		//if Dryrun Set Switch is pressed
	{
		HAL_Delay(3000);
		if(HAL_GPIO_ReadPin(GPIOE, SW_DryrunSet) == 0)
		{

			ADC_Select_IADC_R();   //select channel 2

			HAL_ADC_Start(&hadc1);	//Start ADC
			HAL_ADC_PollForConversion(&hadc1, 100);
			chan_value_I = HAL_ADC_GetValue(&hadc1);
			HAL_ADC_Stop(&hadc1);  	//Stop ADC
			HAL_Delay(50);

			write_buffer[0] = chan_value_I;
			write_buffer[1] = chan_value_I >> 8 & 0x00FF;

			__disable_irq();
			//HAL_Delay(20);
			Flash_Write_Data(write_add, write_buffer, 4); 	// write one value to Data Flash
			//HAL_Delay(20);
			__enable_irq();

			CT_Val = chan_value_I;				//Assign Current Value
			CT_High_Limit = CT_Val + ((CT_Val/100)*30);	//Set Current High Limit
			CT_Low_Limit = CT_Val - ((CT_Val/100)*30);	//Set Current Low Limit

			HAL_Delay(3000);
			HAL_GPIO_WritePin(GPIOB, DRN_LED, GPIO_PIN_RESET);
			HAL_Delay(500);
			HAL_GPIO_WritePin(GPIOB, DRN_LED, GPIO_PIN_SET);
			HAL_Delay(500);
			HAL_GPIO_WritePin(GPIOB, DRN_LED, GPIO_PIN_RESET);
			HAL_Delay(500);
			HAL_GPIO_WritePin(GPIOB, DRN_LED, GPIO_PIN_SET);
			HAL_Delay(500);
			HAL_GPIO_WritePin(GPIOB, DRN_LED, GPIO_PIN_RESET);
			HAL_Delay(500);
			HAL_GPIO_WritePin(GPIOB, DRN_LED, GPIO_PIN_SET);

			HAL_Delay(20);

		}
		else
		{
			HAL_GPIO_WritePin(GPIOB, DRN_LED, GPIO_PIN_SET);
		}
	}
}

void zero_0()
{
	HAL_GPIO_WritePin(GPIOB, SEG_A, GPIO_PIN_SET);
	HAL_GPIO_WritePin(GPIOB, SEG_B, GPIO_PIN_SET);
	HAL_GPIO_WritePin(GPIOB, SEG_C, GPIO_PIN_SET);
	HAL_GPIO_WritePin(GPIOB, SEG_D, GPIO_PIN_SET);
	HAL_GPIO_WritePin(GPIOD, SEG_E, GPIO_PIN_SET);
	HAL_GPIO_WritePin(GPIOD, SEG_F, GPIO_PIN_SET);
	HAL_GPIO_WritePin(GPIOD, SEG_G, GPIO_PIN_RESET);
	HAL_GPIO_WritePin(GPIOD, SEG_DP, GPIO_PIN_RESET);
}
void one_1()
{
	HAL_GPIO_WritePin(GPIOB, SEG_A, GPIO_PIN_RESET);
	HAL_GPIO_WritePin(GPIOB, SEG_B, GPIO_PIN_SET);
	HAL_GPIO_WritePin(GPIOB, SEG_C, GPIO_PIN_SET);
	HAL_GPIO_WritePin(GPIOB, SEG_D, GPIO_PIN_RESET);
	HAL_GPIO_WritePin(GPIOD, SEG_E, GPIO_PIN_RESET);
	HAL_GPIO_WritePin(GPIOD, SEG_F, GPIO_PIN_RESET);
	HAL_GPIO_WritePin(GPIOD, SEG_G, GPIO_PIN_RESET);
	HAL_GPIO_WritePin(GPIOD, SEG_DP, GPIO_PIN_RESET);
}
void two_2()
{
	HAL_GPIO_WritePin(GPIOB, SEG_A, GPIO_PIN_SET);
	HAL_GPIO_WritePin(GPIOB, SEG_B, GPIO_PIN_SET);
	HAL_GPIO_WritePin(GPIOB, SEG_C, GPIO_PIN_RESET);
	HAL_GPIO_WritePin(GPIOB, SEG_D, GPIO_PIN_SET);
	HAL_GPIO_WritePin(GPIOD, SEG_E, GPIO_PIN_SET);
	HAL_GPIO_WritePin(GPIOD, SEG_F, GPIO_PIN_RESET);
	HAL_GPIO_WritePin(GPIOD, SEG_G, GPIO_PIN_SET);
	HAL_GPIO_WritePin(GPIOD, SEG_DP, GPIO_PIN_RESET);
}
void three_3()
{
	HAL_GPIO_WritePin(GPIOB, SEG_A, GPIO_PIN_SET);
	HAL_GPIO_WritePin(GPIOB, SEG_B, GPIO_PIN_SET);
	HAL_GPIO_WritePin(GPIOB, SEG_C, GPIO_PIN_SET);
	HAL_GPIO_WritePin(GPIOB, SEG_D, GPIO_PIN_SET);
	HAL_GPIO_WritePin(GPIOD, SEG_E, GPIO_PIN_RESET);
	HAL_GPIO_WritePin(GPIOD, SEG_F, GPIO_PIN_RESET);
	HAL_GPIO_WritePin(GPIOD, SEG_G, GPIO_PIN_SET);
	HAL_GPIO_WritePin(GPIOD, SEG_DP, GPIO_PIN_RESET);
}
void four_4()
{
	HAL_GPIO_WritePin(GPIOB, SEG_A, GPIO_PIN_RESET);
	HAL_GPIO_WritePin(GPIOB, SEG_B, GPIO_PIN_SET);
	HAL_GPIO_WritePin(GPIOB, SEG_C, GPIO_PIN_SET);
	HAL_GPIO_WritePin(GPIOB, SEG_D, GPIO_PIN_RESET);
	HAL_GPIO_WritePin(GPIOD, SEG_E, GPIO_PIN_RESET);
	HAL_GPIO_WritePin(GPIOD, SEG_F, GPIO_PIN_SET);
	HAL_GPIO_WritePin(GPIOD, SEG_G, GPIO_PIN_SET);
	HAL_GPIO_WritePin(GPIOD, SEG_DP, GPIO_PIN_RESET);
}
void five_5()
{
	HAL_GPIO_WritePin(GPIOB, SEG_A, GPIO_PIN_SET);
	HAL_GPIO_WritePin(GPIOB, SEG_B, GPIO_PIN_RESET);
	HAL_GPIO_WritePin(GPIOB, SEG_C, GPIO_PIN_SET);
	HAL_GPIO_WritePin(GPIOB, SEG_D, GPIO_PIN_SET);
	HAL_GPIO_WritePin(GPIOD, SEG_E, GPIO_PIN_RESET);
	HAL_GPIO_WritePin(GPIOD, SEG_F, GPIO_PIN_SET);
	HAL_GPIO_WritePin(GPIOD, SEG_G, GPIO_PIN_SET);
	HAL_GPIO_WritePin(GPIOD, SEG_DP, GPIO_PIN_RESET);
}
void six_6()
{
	HAL_GPIO_WritePin(GPIOB, SEG_A, GPIO_PIN_SET);
	HAL_GPIO_WritePin(GPIOB, SEG_B, GPIO_PIN_RESET);
	HAL_GPIO_WritePin(GPIOB, SEG_C, GPIO_PIN_SET);
	HAL_GPIO_WritePin(GPIOB, SEG_D, GPIO_PIN_SET);
	HAL_GPIO_WritePin(GPIOD, SEG_E, GPIO_PIN_SET);
	HAL_GPIO_WritePin(GPIOD, SEG_F, GPIO_PIN_SET);
	HAL_GPIO_WritePin(GPIOD, SEG_G, GPIO_PIN_SET);
	HAL_GPIO_WritePin(GPIOD, SEG_DP, GPIO_PIN_RESET);
}
void seven_7()
{
	HAL_GPIO_WritePin(GPIOB, SEG_A, GPIO_PIN_SET);
	HAL_GPIO_WritePin(GPIOB, SEG_B, GPIO_PIN_SET);
	HAL_GPIO_WritePin(GPIOB, SEG_C, GPIO_PIN_SET);
	HAL_GPIO_WritePin(GPIOB, SEG_D, GPIO_PIN_RESET);
	HAL_GPIO_WritePin(GPIOD, SEG_E, GPIO_PIN_RESET);
	HAL_GPIO_WritePin(GPIOD, SEG_F, GPIO_PIN_RESET);
	HAL_GPIO_WritePin(GPIOD, SEG_G, GPIO_PIN_RESET);
	HAL_GPIO_WritePin(GPIOD, SEG_DP, GPIO_PIN_RESET);
}
void eight_8()
{
	HAL_GPIO_WritePin(GPIOB, SEG_A, GPIO_PIN_SET);
	HAL_GPIO_WritePin(GPIOB, SEG_B, GPIO_PIN_SET);
	HAL_GPIO_WritePin(GPIOB, SEG_C, GPIO_PIN_SET);
	HAL_GPIO_WritePin(GPIOB, SEG_D, GPIO_PIN_SET);
	HAL_GPIO_WritePin(GPIOD, SEG_E, GPIO_PIN_SET);
	HAL_GPIO_WritePin(GPIOD, SEG_F, GPIO_PIN_SET);
	HAL_GPIO_WritePin(GPIOD, SEG_G, GPIO_PIN_SET);
	HAL_GPIO_WritePin(GPIOD, SEG_DP, GPIO_PIN_RESET);
}
void nine_9()
{
	HAL_GPIO_WritePin(GPIOB, SEG_A, GPIO_PIN_SET);
	HAL_GPIO_WritePin(GPIOB, SEG_B, GPIO_PIN_SET);
	HAL_GPIO_WritePin(GPIOB, SEG_C, GPIO_PIN_SET);
	HAL_GPIO_WritePin(GPIOB, SEG_D, GPIO_PIN_SET);
	HAL_GPIO_WritePin(GPIOD, SEG_E, GPIO_PIN_RESET);
	HAL_GPIO_WritePin(GPIOD, SEG_F, GPIO_PIN_SET);
	HAL_GPIO_WritePin(GPIOD, SEG_G, GPIO_PIN_SET);
	HAL_GPIO_WritePin(GPIOD, SEG_DP, GPIO_PIN_RESET);
}

void disp(unsigned int s)
{
	if(s==0)
		zero_0();
	else if(s==1)
		one_1();
	else if(s==2)
		two_2();
	else if(s==3)
		three_3();
	else if(s==4)
		four_4();
	else if(s==5)
		five_5();
	else if(s==6)
		six_6();
	else if(s==7)
		seven_7();
	else if(s==8)
		eight_8();
	else if(s==9)
		nine_9();
	else
		zero_0();
}

//void led_blink(uint16_t pin, uint16_t delay)
//{
//	HAL_GPIO_WritePin(GPIOE, pin, GPIO_PIN_SET);
//	HAL_Delay(1000);
//	HAL_GPIO_WritePin(GPIOE, pin, GPIO_PIN_RESET);
//	HAL_Delay(1000);
//}
//
//void led_off(uint16_t pin)
//{
//	HAL_GPIO_WritePin(GPIOE, pin, GPIO_PIN_RESET);
//}

void HAL_TIM_PeriodElapsedCallback(TIM_HandleTypeDef *htim)
{
	if(htim->Instance == TIM6)
		tim_sec++;

	else if(htim->Instance == TIM7)
	{
		count1++;

		if(count1 < 500)
		{
			Voltage_Flag = 1;

			Current_Flag = 0;
		}
		else if (count1 > 499 && count1 < 1000)
		{
			Voltage_Flag = 0;

			Current_Flag = 1;
		}

		else
		{
			count1 = 0;
		}

		if(Voltage_Flag == 1 && Current_Flag == 0)
		{
			adc_val = R_Voltage;
		}

		if(Voltage_Flag == 0 && Current_Flag == 1)
		{
			adc_val = I_Current;
		}

		i = adc_val%10;
		k = (adc_val%100)/10;
		m = adc_val/100;

		HAL_GPIO_WritePin(GPIOC, DISP_3, GPIO_PIN_SET); // DIG3
		HAL_GPIO_WritePin(GPIOC, DISP_2, GPIO_PIN_RESET); // DIG2
		HAL_GPIO_WritePin(GPIOC, DISP_1, GPIO_PIN_RESET); // DIG1

		disp(i);
		msDelay(40);

		HAL_GPIO_WritePin(GPIOC, DISP_3, GPIO_PIN_RESET); // DIG3
		HAL_GPIO_WritePin(GPIOC, DISP_2, GPIO_PIN_SET); // DIG2
		HAL_GPIO_WritePin(GPIOC, DISP_1, GPIO_PIN_RESET); // DIG1

		disp(k);
		msDelay(40);

		HAL_GPIO_WritePin(GPIOC, DISP_3, GPIO_PIN_RESET); // DIG3
		HAL_GPIO_WritePin(GPIOC, DISP_2, GPIO_PIN_RESET); // DIG2
		HAL_GPIO_WritePin(GPIOC, DISP_1, GPIO_PIN_SET); // DIG1

		disp(m);
		msDelay(1);
	}
}

void ADC_Select_STS(void)
{
	ADC_ChannelConfTypeDef sConfig = {0};

	sConfig.Channel = ADC_CHANNEL_1;
	sConfig.Rank = 1;
	sConfig.SamplingTime = ADC_SAMPLETIME_3CYCLES;
	if (HAL_ADC_ConfigChannel(&hadc1, &sConfig) != HAL_OK)
	{
		Error_Handler();
	}
}

void ADC_Select_IADC_R(void)
{
	ADC_ChannelConfTypeDef sConfig = {0};
	sConfig.Channel = ADC_CHANNEL_2;
	sConfig.Rank = 1;
	sConfig.SamplingTime = ADC_SAMPLETIME_15CYCLES;
	if (HAL_ADC_ConfigChannel(&hadc1, &sConfig) != HAL_OK)
	{
		Error_Handler();
	}
}

void ADC_Select_VADC_B(void)
{
	ADC_ChannelConfTypeDef sConfig = {0};
	sConfig.Channel = ADC_CHANNEL_3;
	sConfig.Rank = 1;
	sConfig.SamplingTime = ADC_SAMPLETIME_28CYCLES;
	if (HAL_ADC_ConfigChannel(&hadc1, &sConfig) != HAL_OK)
	{
		Error_Handler();
	}
}

void ADC_Select_VADC_Y(void)
{
	ADC_ChannelConfTypeDef sConfig = {0};
  sConfig.Channel = ADC_CHANNEL_11;
  sConfig.Rank = 1;
  sConfig.SamplingTime = ADC_SAMPLETIME_56CYCLES;
  if (HAL_ADC_ConfigChannel(&hadc1, &sConfig) != HAL_OK)
  {
    Error_Handler();
  }
}

void ADC_Select_VADC_R(void)
{
	ADC_ChannelConfTypeDef sConfig = {0};
	sConfig.Channel = ADC_CHANNEL_12;
	sConfig.Rank = 1;
	sConfig.SamplingTime = ADC_SAMPLETIME_84CYCLES;
	if (HAL_ADC_ConfigChannel(&hadc1, &sConfig) != HAL_OK)
	{
		Error_Handler();
	}
}

void msDelay(uint16_t timecount)
{
	int x,y;
	for(x=0;x<=timecount;x++)
		for(y=0;y<=100;y++);
}
/* USER CODE END 4 */

void Error_Handler(void)
{
  __disable_irq();
  while (1)
  {
  }
}
